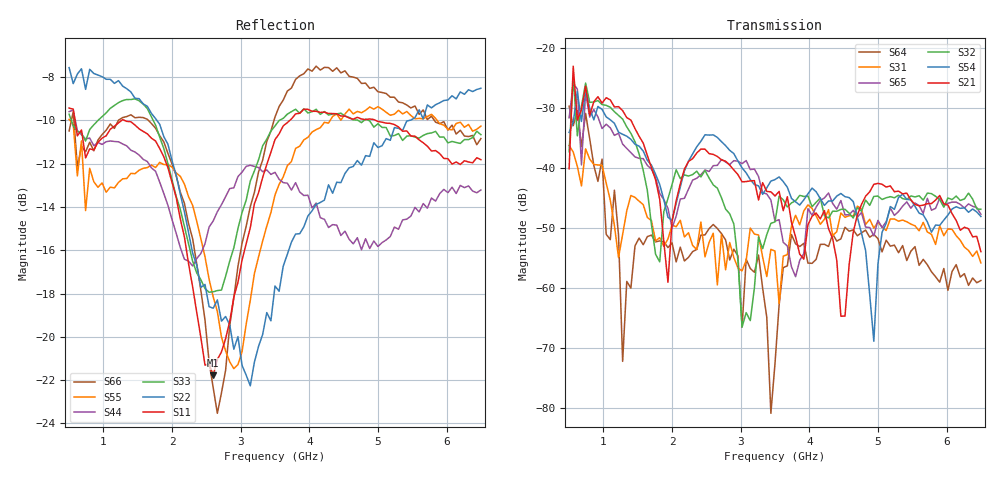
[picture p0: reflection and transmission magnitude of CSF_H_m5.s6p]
!Keysight Technologies,M9804A,MY58100912,A.14.10.03
!Date: Thursday, April 27, 2023 10:28:33
!Correction: S11(C  6-Port  )
!S12(C  6-Port  )
!S13(C  6-Port  )
!S14(C  6-Port  )
!S15(C  6-Port  )
!S16(C  6-Port  )
!S21(C  6-Port  )
!S22(C  6-Port  )
!S23(C  6-Port  )
!S24(C  6-Port  )
!S25(C  6-Port  )
!S26(C  6-Port  )
!S31(C  6-Port  )
!S32(C  6-Port  )
!S33(C  6-Port  )
!S34(C  6-Port  )
!S35(C  6-Port  )
!S36(C  6-Port  )
!S41(C  6-Port  )
!S42(C  6-Port  )
!S43(C  6-Port  )
!S44(C  6-Port  )
!S45(C  6-Port  )
!S46(C  6-Port  )
!S51(C  6-Port  )
!S52(C  6-Port  )
!S53(C  6-Port  )
!S54(C  6-Port  )
!S55(C  6-Port  )
!S56(C  6-Port  )
!S61(C  6-Port  )
!S62(C  6-Port  )
!S63(C  6-Port  )
!S64(C  6-Port  )
!S65(C  6-Port  )
!S66(C  6-Port  )
!S6P File: Measurement: :
# Hz S  RI  R 50
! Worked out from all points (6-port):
!   101 points, 500 MHz to 6.5 GHz, reference 50 ohm
!   strongest paths, dB at 500 MHz, 2 GHz, 3.5 GHz, 5 GHz, 6.5 GHz:
!     S21: -40.1, -48.9, -44.7, -42.6, -54.0
!     S54: -34.1, -48.7, -41.9, -56.0, -48.1
!     S32: -37.3, -42.7, -49.0, -44.7, -46.9
!     S65: -31.6, -50.0, -48.9, -48.8, -47.7
!     S31: -36.2, -49.5, -53.9, -49.1, -55.9
!     S64: -29.7, -52.5, -72.6, -51.8, -58.8
!   lowest |S11| = -21.8 dB at 2.6 GHz (marker M1), VSWR 1.18, Z = 42.7 + j1.97 ohm
!   |S11| at or under -10 dB: 585 MHz to 1.268 GHz (682.7 MHz wide, 73.7 % of centre); 1.302 GHz to 3.717 GHz (2.415 GHz wide, 96.2 % of centre); 4.962 GHz to end of sweep
